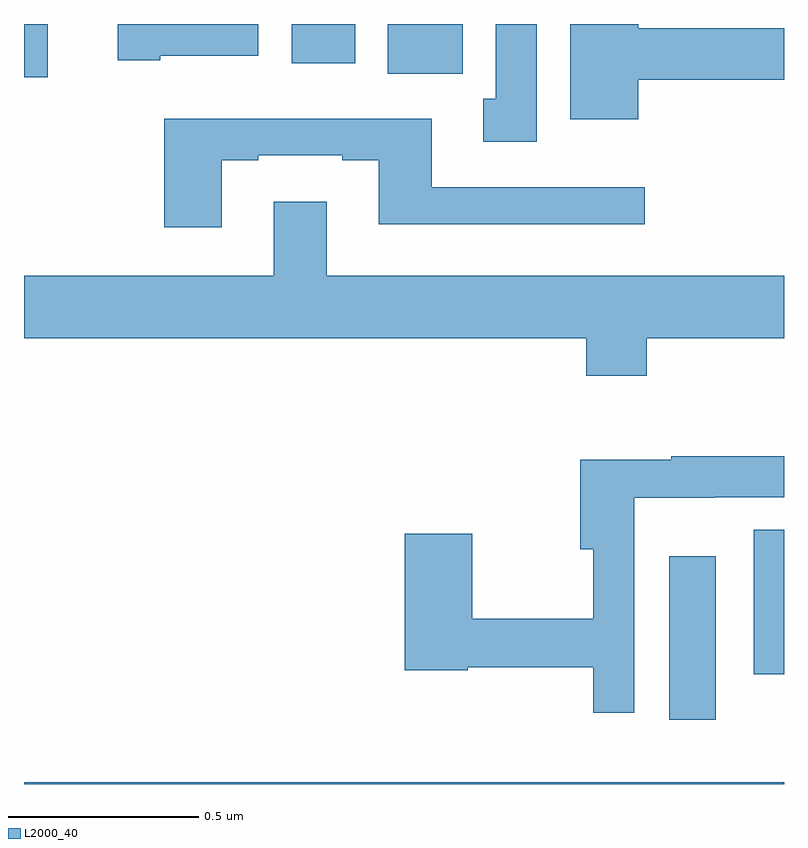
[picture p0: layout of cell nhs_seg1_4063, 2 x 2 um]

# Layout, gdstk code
import gdstk
lib = gdstk.Library(unit=1e-6, precision=1e-09)
def R(c, l, rs):  # rectangles x0, y0, x1, y1
    for r in rs: c.add(gdstk.rectangle(r[:2], r[2:], *l))
def P(c, l, *ps):  # polygons
    for p in ps: c.add(gdstk.Polygon(p, *l))
L2000_40 = (2000, 40)

nhs_seg1_4063 = lib.new_cell('nhs_seg1_4063')
R(nhs_seg1_4063, L2000_40, [(161,577.199,163,577.204), (162.698,577.368,162.82,577.798), (162.92,577.488,163,577.868), (161,579.059,161.062,579.199), (161.957,579.068,162.154,579.199), (161.705,579.096,161.872,579.199)])
P(nhs_seg1_4063, L2000_40, [(161.359,579.116),(161.617,579.116),(161.617,579.199),(161.247,579.199),(161.247,579.104),(161.359,579.104)],
  [(162.349,579.199),(162.242,579.199),(162.242,579.002),(162.209,579.002),(162.209,578.889),(162.349,578.889)],
  [(162.616,579.052),(163,579.052),(163,579.188),(162.616,579.188),(162.616,579.199),(162.437,579.199),(162.437,578.948),(162.616,578.948)],
  [(161.521,578.841),(161.617,578.841),(161.617,578.853),(161.837,578.853),(161.837,578.841),(161.933,578.841),(161.933,578.672),(162.634,578.672),(162.634,578.769),(162.073,578.769),(162.073,578.95),(161.369,578.95),(161.369,578.664),(161.521,578.664)],
  [(162.639,578.372),(163,578.372),(163,578.536),(161.797,578.536),(161.797,578.731),(161.657,578.731),(161.657,578.536),(161,578.536),(161,578.372),(162.479,578.372),(162.479,578.273),(162.639,578.273)],
  [(162.606,577.952),(162.816,577.952),(162.816,577.953),(163,577.953),(163,578.062),(162.703,578.062),(162.703,578.052),(162.464,578.052),(162.464,577.817),(162.498,577.817),(162.498,577.634),(162.18,577.634),(162.18,577.858),(162.002,577.858),(162.002,577.498),(162.168,577.498),(162.168,577.506),(162.498,577.506),(162.498,577.386),(162.606,577.386)])

lib.write_gds('nhs_seg1_4063.gds')
